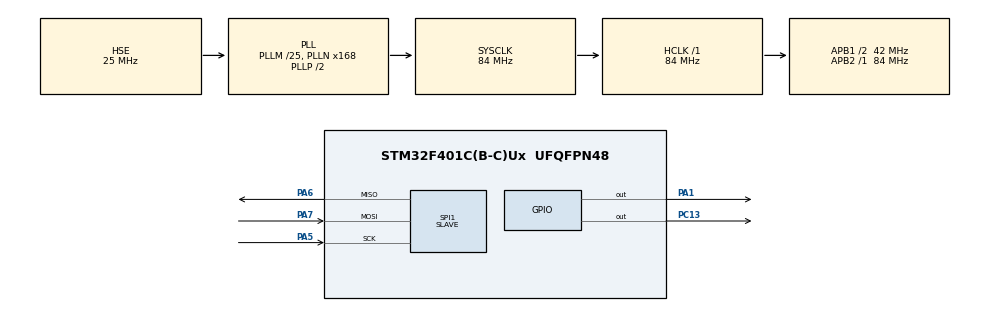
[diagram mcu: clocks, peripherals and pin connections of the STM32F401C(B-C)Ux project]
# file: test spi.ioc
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Dma.Request0=SPI1_RX
Dma.SPI1_RX.0.Direction=DMA_PERIPH_TO_MEMORY
Dma.SPI1_RX.0.FIFOMode=DMA_FIFOMODE_DISABLE
Dma.SPI1_RX.0.Instance=DMA2_Stream0
Dma.SPI1_RX.0.MemDataAlignment=DMA_MDATAALIGN_BYTE
Dma.SPI1_RX.0.MemInc=DMA_MINC_ENABLE
Dma.SPI1_RX.0.Mode=DMA_CIRCULAR
Dma.SPI1_RX.0.PeriphDataAlignment=DMA_PDATAALIGN_BYTE
Dma.SPI1_RX.0.PeriphInc=DMA_PINC_DISABLE
Dma.SPI1_RX.0.Priority=DMA_PRIORITY_HIGH
Mcu.Family=STM32F4
Mcu.Name=STM32F401C(B-C)Ux
Mcu.Package=UFQFPN48
NVIC.DMA2_Stream0_IRQn=true\:0\:0\:false\:false\:true\:false\:true\:true
NVIC.PriorityGroup=NVIC_PRIORITYGROUP_4
NVIC.SPI1_IRQn=true\:0\:0\:false\:false\:true\:true\:true\:true
PA1.Signal=GPIO_Output
PA13.Mode=Serial_Wire
PA13.Signal=SYS_JTMS-SWDIO
PA14.Mode=Serial_Wire
PA14.Signal=SYS_JTCK-SWCLK
PA5.Mode=Full_Duplex_Slave
PA5.Signal=SPI1_SCK
PA6.Mode=Full_Duplex_Slave
PA6.Signal=SPI1_MISO
PA7.Mode=Full_Duplex_Slave
PA7.Signal=SPI1_MOSI
PC13-ANTI_TAMP.Signal=GPIO_Output
PH0\ -\ OSC_IN.Mode=HSE-External-Oscillator
PH0\ -\ OSC_IN.Signal=RCC_OSC_IN
PH1\ -\ OSC_OUT.Mode=HSE-External-Oscillator
PH1\ -\ OSC_OUT.Signal=RCC_OSC_OUT
ProjectManager.HeapSize=0x200
ProjectManager.StackSize=0x400
ProjectManager.TargetToolchain=MDK-ARM V5.32
RCC.48MHZClocksFreq_Value=42000000
RCC.AHBFreq_Value=84000000
RCC.APB1CLKDivider=RCC_HCLK_DIV2
RCC.APB1Freq_Value=42000000
RCC.APB1TimFreq_Value=84000000
RCC.APB2Freq_Value=84000000
RCC.APB2TimFreq_Value=84000000
RCC.CortexFreq_Value=84000000
RCC.HCLKFreq_Value=84000000
RCC.HSE_VALUE=25000000
RCC.HSI_VALUE=16000000
RCC.LSE_VALUE=32768
RCC.PLLM=25
RCC.PLLN=168
RCC.PLLSourceVirtual=RCC_PLLSOURCE_HSE
RCC.SYSCLKFreq_VALUE=84000000
RCC.SYSCLKSource=RCC_SYSCLKSOURCE_PLLCLK
RCC.VCOOutputFreq_Value=168000000
SPI1.Direction=SPI_DIRECTION_2LINES
SPI1.Mode=SPI_MODE_SLAVE
SPI1.VirtualType=VM_SLAVE
board=custom

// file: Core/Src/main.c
/* USER CODE BEGIN Header */
/**
  ******************************************************************************
  * @file           : main.c
  * @brief          : Main program body
  ******************************************************************************
  * @attention
  *
  * Copyright (c) 2023 STMicroelectronics.
  * All rights reserved.
  *
  * This software is licensed under terms that can be found in the LICENSE file
  * in the root directory of this software component.
  * If no LICENSE file comes with this software, it is provided AS-IS.
  *
  ******************************************************************************
  */
/* USER CODE END Header */
#include "main.h"

/* USER CODE BEGIN Includes */
uint8_t data[4];
uint8_t dataMasuk[3];
uint8_t bit8 = 0x80;
	uint16_t bit16 = 0xffff;
	int data16bit;
	double read;
	double read2;
/* USER CODE END Includes */

SPI_HandleTypeDef hspi1;
DMA_HandleTypeDef hdma_spi1_rx;

void SystemClock_Config(void);
static void MX_GPIO_Init(void);
static void MX_DMA_Init(void);
static void MX_SPI1_Init(void);
/* USER CODE BEGIN PFP */
void HAL_SPI_RxCpltCallback(SPI_HandleTypeDef *hspi){

	if(data[0] == 0xB5 && data[1] == 0x5B ){
			dataMasuk[0] = data[2];
			dataMasuk[1] = data[3];

			if(dataMasuk[0] & 0x80) {
				data16bit = ((dataMasuk[0] << 8) | dataMasuk[1]) - 65536;
			} else {
				data16bit = ((dataMasuk[0] << 8) | dataMasuk[1]);
			}
			read = data16bit;
//			read /= 1000;
		}

		HAL_SPI_Receive_DMA(&hspi1, data, sizeof(data));
}
/* USER CODE END PFP */

int main(void)
{
  /* USER CODE BEGIN 1 */
//	uint16_t data = 0x0f;
//	uint8_t bitkanan, bitkiri;
//
//
//	bitkiri = (data >> 8) & 0xff;
//	bitkanan = data & 0xff;
//	uint8_t data_spi[4] = {0xb5, 0x5b, bitkanan, bitkiri};

  /* USER CODE END 1 */

  /* MCU Configuration--------------------------------------------------------*/

  /* Reset of all peripherals, Initializes the Flash interface and the Systick. */
  HAL_Init();

  /* Configure the system clock */
  SystemClock_Config();

  /* Initialize all configured peripherals */
  MX_GPIO_Init();
  MX_DMA_Init();
  MX_SPI1_Init();
  /* USER CODE BEGIN 2 */
	HAL_SPI_Receive_DMA(&hspi1, data, sizeof(data));
  /* USER CODE END 2 */

  /* Infinite loop */
  while (1)
  {

    /* USER CODE BEGIN 3 */
		HAL_GPIO_WritePin(GPIOC, GPIO_PIN_13, GPIO_PIN_SET);
		HAL_Delay(500);
				HAL_GPIO_WritePin(GPIOC, GPIO_PIN_13, GPIO_PIN_RESET);
		HAL_Delay(500);
  }
  /* USER CODE END 3 */
}

void SystemClock_Config(void)
{
  RCC_OscInitTypeDef RCC_OscInitStruct = {0};
  RCC_ClkInitTypeDef RCC_ClkInitStruct = {0};

  /** Configure the main internal regulator output voltage
  */
  __HAL_RCC_PWR_CLK_ENABLE();
  __HAL_PWR_VOLTAGESCALING_CONFIG(PWR_REGULATOR_VOLTAGE_SCALE2);

  /** Initializes the RCC Oscillators according to the specified parameters
  * in the RCC_OscInitTypeDef structure.
  */
  RCC_OscInitStruct.OscillatorType = RCC_OSCILLATORTYPE_HSE;
  RCC_OscInitStruct.HSEState = RCC_HSE_ON;
  RCC_OscInitStruct.PLL.PLLState = RCC_PLL_ON;
  RCC_OscInitStruct.PLL.PLLSource = RCC_PLLSOURCE_HSE;
  RCC_OscInitStruct.PLL.PLLM = 25;
  RCC_OscInitStruct.PLL.PLLN = 168;
  RCC_OscInitStruct.PLL.PLLP = RCC_PLLP_DIV2;
  RCC_OscInitStruct.PLL.PLLQ = 4;
  if (HAL_RCC_OscConfig(&RCC_OscInitStruct) != HAL_OK)
  {
    Error_Handler();
  }

  /** Initializes the CPU, AHB and APB buses clocks
  */
  RCC_ClkInitStruct.ClockType = RCC_CLOCKTYPE_HCLK|RCC_CLOCKTYPE_SYSCLK
                              |RCC_CLOCKTYPE_PCLK1|RCC_CLOCKTYPE_PCLK2;
  RCC_ClkInitStruct.SYSCLKSource = RCC_SYSCLKSOURCE_PLLCLK;
  RCC_ClkInitStruct.AHBCLKDivider = RCC_SYSCLK_DIV1;
  RCC_ClkInitStruct.APB1CLKDivider = RCC_HCLK_DIV2;
  RCC_ClkInitStruct.APB2CLKDivider = RCC_HCLK_DIV1;

  if (HAL_RCC_ClockConfig(&RCC_ClkInitStruct, FLASH_LATENCY_2) != HAL_OK)
  {
    Error_Handler();
  }
}

static void MX_SPI1_Init(void)
{

  /* SPI1 parameter configuration*/
  hspi1.Instance = SPI1;
  hspi1.Init.Mode = SPI_MODE_SLAVE;
  hspi1.Init.Direction = SPI_DIRECTION_2LINES;
  hspi1.Init.DataSize = SPI_DATASIZE_8BIT;
  hspi1.Init.CLKPolarity = SPI_POLARITY_LOW;
  hspi1.Init.CLKPhase = SPI_PHASE_1EDGE;
  hspi1.Init.NSS = SPI_NSS_SOFT;
  hspi1.Init.FirstBit = SPI_FIRSTBIT_MSB;
  hspi1.Init.TIMode = SPI_TIMODE_DISABLE;
  hspi1.Init.CRCCalculation = SPI_CRCCALCULATION_DISABLE;
  hspi1.Init.CRCPolynomial = 10;
  if (HAL_SPI_Init(&hspi1) != HAL_OK)
  {
    Error_Handler();
  }

}

static void MX_DMA_Init(void)
{

  /* DMA controller clock enable */
  __HAL_RCC_DMA2_CLK_ENABLE();

  /* DMA interrupt init */
  /* DMA2_Stream0_IRQn interrupt configuration */
  HAL_NVIC_SetPriority(DMA2_Stream0_IRQn, 0, 0);
  HAL_NVIC_EnableIRQ(DMA2_Stream0_IRQn);

}

static void MX_GPIO_Init(void)
{
  GPIO_InitTypeDef GPIO_InitStruct = {0};

  /* GPIO Ports Clock Enable */
  __HAL_RCC_GPIOC_CLK_ENABLE();
  __HAL_RCC_GPIOH_CLK_ENABLE();
  __HAL_RCC_GPIOA_CLK_ENABLE();

  /*Configure GPIO pin Output Level */
  HAL_GPIO_WritePin(GPIOC, GPIO_PIN_13, GPIO_PIN_RESET);

  /*Configure GPIO pin Output Level */
  HAL_GPIO_WritePin(GPIOA, GPIO_PIN_1, GPIO_PIN_RESET);

  /*Configure GPIO pin : PC13 */
  GPIO_InitStruct.Pin = GPIO_PIN_13;
  GPIO_InitStruct.Mode = GPIO_MODE_OUTPUT_PP;
  GPIO_InitStruct.Pull = GPIO_NOPULL;
  GPIO_InitStruct.Speed = GPIO_SPEED_FREQ_LOW;
  HAL_GPIO_Init(GPIOC, &GPIO_InitStruct);

  /*Configure GPIO pin : PA1 */
  GPIO_InitStruct.Pin = GPIO_PIN_1;
  GPIO_InitStruct.Mode = GPIO_MODE_OUTPUT_PP;
  GPIO_InitStruct.Pull = GPIO_NOPULL;
  GPIO_InitStruct.Speed = GPIO_SPEED_FREQ_LOW;
  HAL_GPIO_Init(GPIOA, &GPIO_InitStruct);

}

void Error_Handler(void)
{
  __disable_irq();
  while (1)
  {
  }
}
